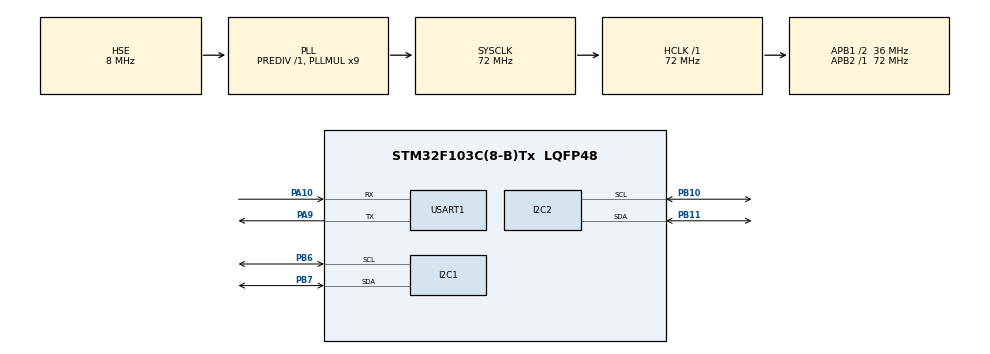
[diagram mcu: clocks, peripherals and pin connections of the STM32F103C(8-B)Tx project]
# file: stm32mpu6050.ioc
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I2C2.I2C_Mode=I2C_Standard
Mcu.Family=STM32F1
Mcu.Name=STM32F103C(8-B)Tx
Mcu.Package=LQFP48
NVIC.PriorityGroup=NVIC_PRIORITYGROUP_4
NVIC.USART1_IRQn=true\:0\:0\:false\:false\:true\:true\:true\:true
PA10.Mode=Asynchronous
PA10.Signal=USART1_RX
PA13.Mode=Serial_Wire
PA13.Signal=SYS_JTMS-SWDIO
PA14.Mode=Serial_Wire
PA14.Signal=SYS_JTCK-SWCLK
PA9.Mode=Asynchronous
PA9.Signal=USART1_TX
PB10.Mode=I2C
PB10.Signal=I2C2_SCL
PB11.Mode=I2C
PB11.Signal=I2C2_SDA
PB6.Mode=I2C
PB6.Signal=I2C1_SCL
PB7.Mode=I2C
PB7.Signal=I2C1_SDA
PD0-OSC_IN.Mode=HSE-External-Oscillator
PD0-OSC_IN.Signal=RCC_OSC_IN
PD1-OSC_OUT.Mode=HSE-External-Oscillator
PD1-OSC_OUT.Signal=RCC_OSC_OUT
ProjectManager.HeapSize=0x200
ProjectManager.StackSize=0x400
ProjectManager.TargetToolchain=CMake
RCC.AHBFreq_Value=72000000
RCC.APB1CLKDivider=RCC_HCLK_DIV2
RCC.APB1Freq_Value=36000000
RCC.APB1TimFreq_Value=72000000
RCC.APB2Freq_Value=72000000
RCC.APB2TimFreq_Value=72000000
RCC.HCLKFreq_Value=72000000
RCC.PLLMUL=RCC_PLL_MUL9
RCC.PLLSourceVirtual=RCC_PLLSOURCE_HSE
RCC.SYSCLKFreq_VALUE=72000000
RCC.SYSCLKSource=RCC_SYSCLKSOURCE_PLLCLK
RCC.USBFreq_Value=72000000
USART1.VirtualMode=VM_ASYNC
board=custom

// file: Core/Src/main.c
/* USER CODE BEGIN Header */
/**
  ******************************************************************************
  * @file           : main.c
  * @brief          : Main program body
  ******************************************************************************
  * @attention
  *
  * Copyright (c) 2025 STMicroelectronics.
  * All rights reserved.
  *
  * This software is licensed under terms that can be found in the LICENSE file
  * in the root directory of this software component.
  * If no LICENSE file comes with this software, it is provided AS-IS.
  *
  ******************************************************************************
  */
/* USER CODE END Header */
#include "main.h"
#include "i2c.h"
#include "usart.h"
#include "gpio.h"

/* USER CODE BEGIN Includes */
#include "fonts.h"
#include "ssd1306.h"
#include "stm32f1xx_hal.h"
#include "stm32f1xx_hal_def.h"
#include "stm32f1xx_hal_i2c.h"
#include "mpu6050.h"
#include "anonymous_protocol.h"
/* USER CODE END Includes */

/* USER CODE BEGIN PV */
float pitch, roll, yaw;
/* USER CODE END PV */

void SystemClock_Config(void);

int main(void)
{

  /* MCU Configuration--------------------------------------------------------*/

  /* Reset of all peripherals, Initializes the Flash interface and the Systick. */
  HAL_Init();

  /* Configure the system clock */
  SystemClock_Config();

  /* Initialize all configured peripherals */
  MX_GPIO_Init();
  MX_I2C1_Init();
  MX_I2C2_Init();
  MX_USART1_UART_Init();
  /* USER CODE BEGIN 2 */
  SSD1306_Init();
  SSD1306_GotoXY(10, 10);
  SSD1306_Puts("HELLO", &Font_7x10, 1); // print Hello
  SSD1306_GotoXY (10, 30);
  SSD1306_Puts ("WORLD !!", &Font_7x10, 1);
  SSD1306_UpdateScreen();

  HAL_Delay(500);

  // To test I2C device
  HAL_StatusTypeDef ret = HAL_I2C_IsDeviceReady(&hi2c1, MPU6050_I2C_ADDR << 1, 1, 100);
  if (ret != HAL_OK) {
    SSD1306_GotoXY(10, 10);
    SSD1306_Puts("I2C Error", &Font_7x10, 1);
  } else {
    SSD1306_GotoXY(10, 10);
    SSD1306_Puts("I2C OK", &Font_7x10, 1);
  }
  SSD1306_UpdateScreen();

  HAL_Delay(1000);

  uint8_t init_ret = MPU6050_Init(&hi2c1);
  if (init_ret == 0) {
    SSD1306_GotoXY(10, 10);
    SSD1306_Puts("MPU6050 Init OK", &Font_7x10, 1);
  } else {
    SSD1306_GotoXY(10, 10);
    SSD1306_Puts("MPU6050 Init Error", &Font_7x10, 1);
  }
  SSD1306_UpdateScreen();

  uint8_t dmp_init_ret = mpu_dmp_init();
  if (dmp_init_ret == 0) {
    SSD1306_GotoXY(10, 10);
    SSD1306_Puts("MPU6050 DMP OK", &Font_7x10, 1);
  } else {
    SSD1306_GotoXY(10, 10);
    SSD1306_Puts("MPU6050 DMP Error", &Font_7x10, 1);
  }
  SSD1306_UpdateScreen();
  HAL_Delay(500);

  HAL_Delay(2000);

  /* USER CODE END 2 */

  /* Infinite loop */
  while (1)
  {

    /* USER CODE BEGIN 3 */

    uint8_t dmp_result = MPU6050_dmp_get_data(&pitch, &roll, &yaw);
    if (dmp_result == 0) {
      // 创建DMP数据结构
      dmp_data_t dmp_data;
      dmp_data.pitch = pitch;
      dmp_data.roll = roll;
      dmp_data.yaw = yaw;
      dmp_data.fusion_status = FUSION_STATUS_OK;

      // 使用协议发送数据
      Protocol_Send_MPU6050_Data(&huart1, &dmp_data);

      // 可选：发送调试信息（每10次循环发送一次）
      static uint8_t debug_counter = 0;
      if (++debug_counter >= 10) {
        debug_counter = 0;
        Protocol_Debug_Print(&huart1, &dmp_data);
      }
    } else {
      //HAL_UART_Transmit(&huart1, (uint8_t*)"DMP error\r\n", 11, 1000);
    }

    // 延时1秒
    HAL_Delay(5);
  }
  /* USER CODE END 3 */
}

void SystemClock_Config(void)
{
  RCC_OscInitTypeDef RCC_OscInitStruct = {0};
  RCC_ClkInitTypeDef RCC_ClkInitStruct = {0};

  /** Initializes the RCC Oscillators according to the specified parameters
  * in the RCC_OscInitTypeDef structure.
  */
  RCC_OscInitStruct.OscillatorType = RCC_OSCILLATORTYPE_HSE;
  RCC_OscInitStruct.HSEState = RCC_HSE_ON;
  RCC_OscInitStruct.HSEPredivValue = RCC_HSE_PREDIV_DIV1;
  RCC_OscInitStruct.HSIState = RCC_HSI_ON;
  RCC_OscInitStruct.PLL.PLLState = RCC_PLL_ON;
  RCC_OscInitStruct.PLL.PLLSource = RCC_PLLSOURCE_HSE;
  RCC_OscInitStruct.PLL.PLLMUL = RCC_PLL_MUL9;
  if (HAL_RCC_OscConfig(&RCC_OscInitStruct) != HAL_OK)
  {
    Error_Handler();
  }

  /** Initializes the CPU, AHB and APB buses clocks
  */
  RCC_ClkInitStruct.ClockType = RCC_CLOCKTYPE_HCLK|RCC_CLOCKTYPE_SYSCLK
                              |RCC_CLOCKTYPE_PCLK1|RCC_CLOCKTYPE_PCLK2;
  RCC_ClkInitStruct.SYSCLKSource = RCC_SYSCLKSOURCE_PLLCLK;
  RCC_ClkInitStruct.AHBCLKDivider = RCC_SYSCLK_DIV1;
  RCC_ClkInitStruct.APB1CLKDivider = RCC_HCLK_DIV2;
  RCC_ClkInitStruct.APB2CLKDivider = RCC_HCLK_DIV1;

  if (HAL_RCC_ClockConfig(&RCC_ClkInitStruct, FLASH_LATENCY_2) != HAL_OK)
  {
    Error_Handler();
  }
}

void Error_Handler(void)
{
  __disable_irq();
  while (1)
  {
  }
}
